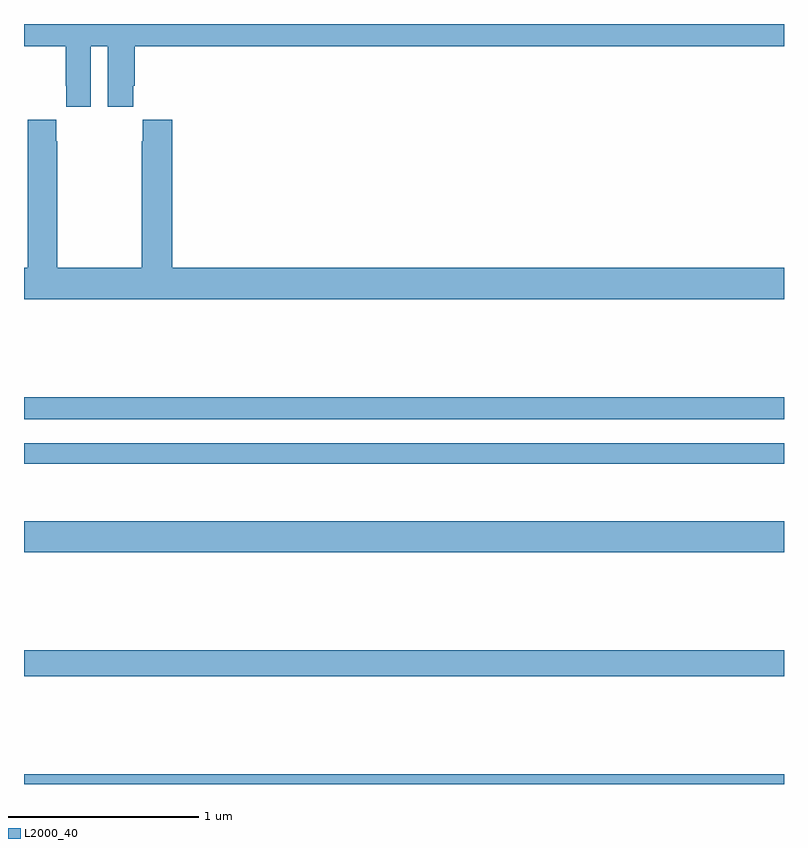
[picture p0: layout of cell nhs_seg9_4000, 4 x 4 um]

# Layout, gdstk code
import gdstk
lib = gdstk.Library(unit=1e-6, precision=1e-09)
def R(c, l, rs):  # rectangles x0, y0, x1, y1
    for r in rs: c.add(gdstk.rectangle(r[:2], r[2:], *l))
def P(c, l, *ps):  # polygons
    for p in ps: c.add(gdstk.Polygon(p, *l))
L2000_40 = (2000, 40)

nhs_seg9_4000 = lib.new_cell('nhs_seg9_4000')
R(nhs_seg9_4000, L2000_40, [(339,1228.5,343,1228.552), (339,1229.068,343,1229.204), (339,1229.72,343,1229.884), (339,1230.186,343,1230.294), (339,1230.42,343,1230.536)])
P(nhs_seg9_4000, L2000_40, [(339.352,1232.384),(339.44,1232.384),(339.44,1232.064),(339.574,1232.064),(339.574,1232.176),(339.584,1232.176),(339.584,1232.384),(343,1232.384),(343,1232.5),(339,1232.5),(339,1232.384),(339.221,1232.384),(339.221,1232.176),(339.222,1232.176),(339.222,1232.064),(339.352,1232.064)],
  [(343,1231.216),(339.779,1231.216),(339.779,1231.996),(339.625,1231.996),(339.625,1231.883),(339.619,1231.883),(339.619,1231.216),(339.174,1231.216),(339.174,1231.883),(339.171,1231.883),(339.171,1231.996),(339.021,1231.996),(339.021,1231.883),(339.019,1231.883),(339.019,1231.216),(339,1231.216),(339,1231.052),(343,1231.052)])

lib.write_gds('nhs_seg9_4000.gds')
